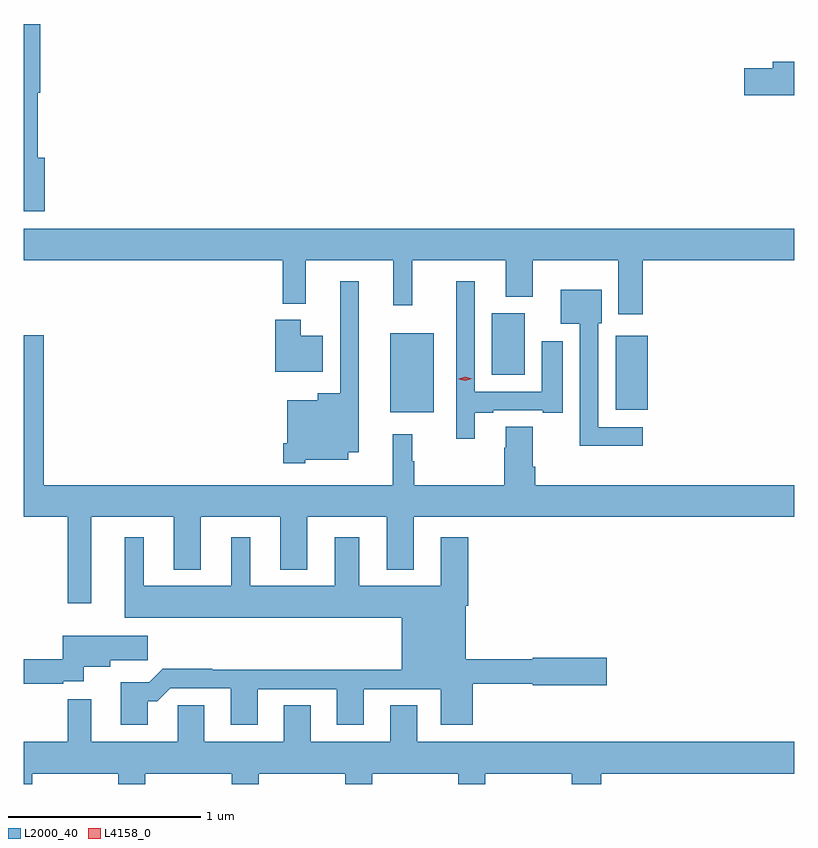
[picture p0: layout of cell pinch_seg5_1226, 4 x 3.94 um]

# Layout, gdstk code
import gdstk
lib = gdstk.Library(unit=1e-6, precision=1e-09)
def R(c, l, rs):  # rectangles x0, y0, x1, y1
    for r in rs: c.add(gdstk.rectangle(r[:2], r[2:], *l))
def P(c, l, *ps):  # polygons
    for p in ps: c.add(gdstk.Polygon(p, *l))
L2000_40 = (2000, 40)
L4158_0 = (4158, 0)

pinch_seg5_1226 = lib.new_cell('pinch_seg5_1226')
R(pinch_seg5_1226, L2000_40, [(435.671,874.619,435.898,875.029), (436.841,874.631,437.008,875.017), (436.199,874.814,436.369,875.134)])
P(pinch_seg5_1226, L2000_40, [(433.88,875.94),(433.843,875.94),(433.843,876.278),(433.856,876.278),(433.856,876.634),(433.769,876.634),(433.769,875.661),(433.88,875.661)],
  [(437.769,876.439),(437.657,876.439),(437.657,876.405),(437.508,876.405),(437.508,876.263),(437.769,876.263)],
  [(436.982,875.408),(437.769,875.408),(437.769,875.572),(433.769,875.572),(433.769,875.408),(435.115,875.408),(435.115,875.183),(435.233,875.183),(435.233,875.408),(435.686,875.408),(435.686,875.175),(435.786,875.175),(435.786,875.408),(436.271,875.408),(436.271,875.219),(436.411,875.219),(436.411,875.408),(436.856,875.408),(436.856,875.127),(436.982,875.127)],
  [(436.111,874.617),(436.207,874.617),(436.207,874.629),(436.463,874.629),(436.463,874.617),(436.567,874.617),(436.567,874.987),(436.457,874.987),(436.457,874.725),(436.11,874.725),(436.11,875.299),(436.014,875.299),(436.014,874.482),(436.111,874.482)],
  [(435.231,874.373),(435.454,874.373),(435.454,874.412),(435.508,874.412),(435.508,875.299),(435.411,875.299),(435.411,874.717),(435.296,874.717),(435.296,874.681),(435.137,874.681),(435.137,874.459),(435.116,874.459),(435.116,874.355),(435.231,874.355)],
  [(436.981,874.542),(436.752,874.542),(436.752,875.082),(436.768,875.082),(436.768,875.254),(436.556,875.254),(436.556,875.078),(436.656,875.078),(436.656,874.445),(436.981,874.445)],
  [(435.322,875.017),(435.208,875.017),(435.208,875.098),(435.074,875.098),(435.074,874.829),(435.322,874.829)],
  [(434.119,874.076),(434.549,874.076),(434.549,873.803),(434.689,873.803),(434.689,874.076),(435.101,874.076),(435.101,873.803),(435.241,873.803),(435.241,874.076),(435.653,874.076),(435.653,873.803),(435.793,873.803),(435.793,874.076),(437.769,874.076),(437.769,874.24),(436.424,874.24),(436.424,874.336),(436.411,874.336),(436.411,874.544),(436.271,874.544),(436.271,874.436),(436.264,874.436),(436.264,874.24),(435.796,874.24),(435.796,874.364),(435.786,874.364),(435.786,874.504),(435.685,874.504),(435.685,874.24),(433.874,874.24),(433.874,875.02),(433.769,875.02),(433.769,874.076),(433.998,874.076),(433.998,873.627),(434.119,873.627)],
  [(434.413,873.119),(434.462,873.119),(434.529,873.186),(434.843,873.186),(434.843,872.997),(434.983,872.997),(434.983,873.183),(435.395,873.183),(435.395,872.997),(435.535,872.997),(435.535,873.183),(435.935,873.183),(435.935,872.997),(436.1,872.997),(436.1,873.21),(436.41,873.21),(436.41,873.202),(436.795,873.202),(436.795,873.344),(436.41,873.344),(436.41,873.338),(436.063,873.338),(436.063,873.614),(436.076,873.614),(436.076,873.97),(435.935,873.97),(435.935,873.718),(435.511,873.718),(435.511,873.97),(435.383,873.97),(435.383,873.718),(434.944,873.718),(434.944,873.97),(434.846,873.97),(434.846,873.718),(434.392,873.718),(434.392,873.97),(434.294,873.97),(434.294,873.554),(435.731,873.554),(435.731,873.284),(434.747,873.284),(434.747,873.287),(434.492,873.287),(434.422,873.217),(434.273,873.217),(434.273,872.997),(434.413,872.997)],
  [(433.976,873.222),(434.081,873.222),(434.081,873.299),(434.218,873.299),(434.218,873.331),(434.413,873.331),(434.413,873.46),(433.971,873.46),(433.971,873.338),(433.769,873.338),(433.769,873.21),(433.976,873.21)],
  [(435.811,873.098),(435.671,873.098),(435.671,872.908),(435.259,872.908),(435.259,873.098),(435.119,873.098),(435.119,872.908),(434.707,872.908),(434.707,873.098),(434.568,873.098),(434.568,872.908),(434.119,872.908),(434.119,873.13),(433.998,873.13),(433.998,872.908),(433.769,872.908),(433.769,872.69),(433.813,872.69),(433.813,872.744),(434.261,872.744),(434.261,872.69),(434.401,872.69),(434.401,872.744),(434.849,872.744),(434.849,872.69),(434.989,872.69),(434.989,872.744),(435.437,872.744),(435.437,872.69),(435.577,872.69),(435.577,872.744),(436.025,872.744),(436.025,872.69),(436.165,872.69),(436.165,872.744),(436.613,872.744),(436.613,872.69),(436.766,872.69),(436.766,872.744),(437.769,872.744),(437.769,872.908),(435.811,872.908)])
P(pinch_seg5_1226, L4158_0, [(436.062,874.783),(436.026,874.791),(436.026,874.791),(436.026,874.792),(436.061,874.803),(436.097,874.794),(436.097,874.794),(436.097,874.794)])

lib.write_gds('pinch_seg5_1226.gds')
